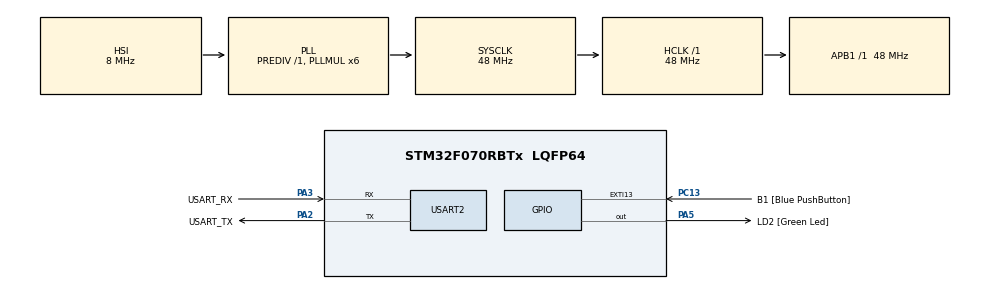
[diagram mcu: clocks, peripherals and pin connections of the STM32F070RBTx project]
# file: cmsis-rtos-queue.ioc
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FREERTOS.Queues01=myQueue,5,uint16_t,0,Dynamic,NULL,NULL
FREERTOS.Tasks01=SenderTask,0,128,Sender,Default,NULL,Dynamic,NULL,NULL;ReceiverTask,0,128,Receiver,Default,NULL,Dynamic,NULL,NULL
Mcu.Family=STM32F0
Mcu.Name=STM32F070RBTx
Mcu.Package=LQFP64
NVIC.TIM1_BRK_UP_TRG_COM_IRQn=true\:3\:0\:false\:false\:true\:false\:false\:true\:true
NVIC.TimeBase=TIM1_BRK_UP_TRG_COM_IRQn
NVIC.TimeBaseIP=TIM1
PA13.GPIO_Label=TMS
PA13.Mode=Serial_Wire
PA13.Signal=SYS_SWDIO
PA14.GPIO_Label=TCK
PA14.Mode=Serial_Wire
PA14.Signal=SYS_SWCLK
PA2.GPIO_Label=USART_TX
PA2.Mode=Asynchronous
PA2.Signal=USART2_TX
PA3.GPIO_Label=USART_RX
PA3.Mode=Asynchronous
PA3.Signal=USART2_RX
PA5.GPIO_Label=LD2 [Green Led]
PA5.Signal=GPIO_Output
PC13.GPIO_Label=B1 [Blue PushButton]
PC13.GPIO_ModeDefaultEXTI=GPIO_MODE_IT_FALLING
PC13.Signal=GPXTI13
PC14-OSC32_IN.GPIO_Label=RCC_OSC32_IN
PC14-OSC32_IN.Mode=LSE-External-Oscillator
PC14-OSC32_IN.Signal=RCC_OSC32_IN
PC15-OSC32_OUT.GPIO_Label=RCC_OSC32_OUT
PC15-OSC32_OUT.Mode=LSE-External-Oscillator
PC15-OSC32_OUT.Signal=RCC_OSC32_OUT
PF0-OSC_IN.GPIO_Label=RCC_OSC_IN
PF0-OSC_IN.Mode=HSE-External-Clock-Source
PF0-OSC_IN.Signal=RCC_OSC_IN
PF1-OSC_OUT.GPIO_Label=RCC_OSC_OUT
PF1-OSC_OUT.Signal=RCC_OSC_OUT
ProjectManager.HeapSize=0x200
ProjectManager.StackSize=0x400
ProjectManager.TargetToolchain=STM32CubeIDE
RCC.AHBFreq_Value=48000000
RCC.APB1Freq_Value=48000000
RCC.APB1TimFreq_Value=48000000
RCC.HCLKFreq_Value=48000000
RCC.PLLMUL=RCC_PLL_MUL6
RCC.SYSCLKFreq_VALUE=48000000
RCC.SYSCLKSource=RCC_SYSCLKSOURCE_PLLCLK
USART2.VirtualMode-Asynchronous=VM_ASYNC
VP_FREERTOS_VS_CMSIS_V1.Mode=CMSIS_V1
VP_SYS_VS_tim1.Mode=TIM1
board=NUCLEO-F070RB

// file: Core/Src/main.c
/* USER CODE BEGIN Header */
/**
  ******************************************************************************
  * @file           : main.c
  * @brief          : Main program body
  ******************************************************************************
  * @attention
  *
  * Copyright (c) 2022 STMicroelectronics.
  * All rights reserved.
  *
  * This software is licensed under terms that can be found in the LICENSE file
  * in the root directory of this software component.
  * If no LICENSE file comes with this software, it is provided AS-IS.
  *
  ******************************************************************************
  */
/* USER CODE END Header */
#include "main.h"
#include "cmsis_os.h"

/* USER CODE BEGIN Includes */
#include "stdio.h"
#include "stdint.h"
#include "string.h"
/* USER CODE END Includes */

/* USER CODE BEGIN PD */
#define uartPrint(__message)                    HAL_UART_Transmit(&huart2,(uint8_t *)__message,strlen(__message),1000)
/* USER CODE END PD */

 UART_HandleTypeDef huart2;

osThreadId SenderTaskHandle;
osThreadId ReceiverTaskHandle;
osMessageQId myQueueHandle;

void SystemClock_Config(void);
static void MX_GPIO_Init(void);
static void MX_USART2_UART_Init(void);
void Sender(void const * argument);
void Receiver(void const * argument);

int main(void)
{

  /* MCU Configuration--------------------------------------------------------*/

  /* Reset of all peripherals, Initializes the Flash interface and the Systick. */
  HAL_Init();

  /* Configure the system clock */
  SystemClock_Config();

  /* Initialize all configured peripherals */
  MX_GPIO_Init();
  MX_USART2_UART_Init();

  /* Create the queue(s) */
  /* definition and creation of myQueue */
  osMessageQDef(myQueue, 5, uint16_t);
  myQueueHandle = osMessageCreate(osMessageQ(myQueue), NULL);

  /* Create the thread(s) */
  /* definition and creation of SenderTask */
  osThreadDef(SenderTask, Sender, osPriorityNormal, 0, 128);
  SenderTaskHandle = osThreadCreate(osThread(SenderTask), NULL);

  /* definition and creation of ReceiverTask */
  osThreadDef(ReceiverTask, Receiver, osPriorityNormal, 0, 128);
  ReceiverTaskHandle = osThreadCreate(osThread(ReceiverTask), NULL);

  /* Start scheduler */
  osKernelStart();

  /* We should never get here as control is now taken by the scheduler */
  /* Infinite loop */
  while (1)
  {

  }
}

void SystemClock_Config(void)
{
  RCC_OscInitTypeDef RCC_OscInitStruct = {0};
  RCC_ClkInitTypeDef RCC_ClkInitStruct = {0};

  /** Initializes the RCC Oscillators according to the specified parameters
  * in the RCC_OscInitTypeDef structure.
  */
  RCC_OscInitStruct.OscillatorType = RCC_OSCILLATORTYPE_HSI;
  RCC_OscInitStruct.HSIState = RCC_HSI_ON;
  RCC_OscInitStruct.HSICalibrationValue = RCC_HSICALIBRATION_DEFAULT;
  RCC_OscInitStruct.PLL.PLLState = RCC_PLL_ON;
  RCC_OscInitStruct.PLL.PLLSource = RCC_PLLSOURCE_HSI;
  RCC_OscInitStruct.PLL.PLLMUL = RCC_PLL_MUL6;
  RCC_OscInitStruct.PLL.PREDIV = RCC_PREDIV_DIV1;
  if (HAL_RCC_OscConfig(&RCC_OscInitStruct) != HAL_OK)
  {
    Error_Handler();
  }

  /** Initializes the CPU, AHB and APB buses clocks
  */
  RCC_ClkInitStruct.ClockType = RCC_CLOCKTYPE_HCLK|RCC_CLOCKTYPE_SYSCLK
                              |RCC_CLOCKTYPE_PCLK1;
  RCC_ClkInitStruct.SYSCLKSource = RCC_SYSCLKSOURCE_PLLCLK;
  RCC_ClkInitStruct.AHBCLKDivider = RCC_SYSCLK_DIV1;
  RCC_ClkInitStruct.APB1CLKDivider = RCC_HCLK_DIV1;

  if (HAL_RCC_ClockConfig(&RCC_ClkInitStruct, FLASH_LATENCY_1) != HAL_OK)
  {
    Error_Handler();
  }
}

static void MX_USART2_UART_Init(void)
{

  huart2.Instance = USART2;
  huart2.Init.BaudRate = 38400;
  huart2.Init.WordLength = UART_WORDLENGTH_8B;
  huart2.Init.StopBits = UART_STOPBITS_1;
  huart2.Init.Parity = UART_PARITY_NONE;
  huart2.Init.Mode = UART_MODE_TX_RX;
  huart2.Init.HwFlowCtl = UART_HWCONTROL_NONE;
  huart2.Init.OverSampling = UART_OVERSAMPLING_16;
  huart2.Init.OneBitSampling = UART_ONE_BIT_SAMPLE_DISABLE;
  huart2.AdvancedInit.AdvFeatureInit = UART_ADVFEATURE_NO_INIT;
  if (HAL_UART_Init(&huart2) != HAL_OK)
  {
    Error_Handler();
  }

}

static void MX_GPIO_Init(void)
{
  GPIO_InitTypeDef GPIO_InitStruct = {0};

  /* GPIO Ports Clock Enable */
  __HAL_RCC_GPIOC_CLK_ENABLE();
  __HAL_RCC_GPIOF_CLK_ENABLE();
  __HAL_RCC_GPIOA_CLK_ENABLE();

  /*Configure GPIO pin Output Level */
  HAL_GPIO_WritePin(LD2_GPIO_Port, LD2_Pin, GPIO_PIN_RESET);

  /*Configure GPIO pin : B1_Pin */
  GPIO_InitStruct.Pin = B1_Pin;
  GPIO_InitStruct.Mode = GPIO_MODE_IT_FALLING;
  GPIO_InitStruct.Pull = GPIO_NOPULL;
  HAL_GPIO_Init(B1_GPIO_Port, &GPIO_InitStruct);

  /*Configure GPIO pin : LD2_Pin */
  GPIO_InitStruct.Pin = LD2_Pin;
  GPIO_InitStruct.Mode = GPIO_MODE_OUTPUT_PP;
  GPIO_InitStruct.Pull = GPIO_NOPULL;
  GPIO_InitStruct.Speed = GPIO_SPEED_FREQ_LOW;
  HAL_GPIO_Init(LD2_GPIO_Port, &GPIO_InitStruct);

}

void Sender(void const * argument)
{
  /* USER CODE BEGIN 5 */
	//osDelay(2000);
	uint32_t sendVal;
	for(uint32_t i = 1; i<=10; ++i){
		sendVal = i*10;
		osMessagePut(myQueueHandle, sendVal, 100);
	}
  /* Infinite loop */
  for(;;)
  {

  }
  /* USER CODE END 5 */
}

void Receiver(void const * argument)
{
  /* USER CODE BEGIN Receiver */
  /* Infinite loop */
	osEvent message;
	char string[50];
  for(;;)
  {
	  message = osMessageGet(myQueueHandle, 5000);
	  if(message.status == osEventMessage){
		  sprintf(string, "Recieved value: %u\r\n", message.value.v);

		  uartPrint(string);
	  }
	  else{
		  uartPrint("Queue is empty!\r\n");
	  }
  }
  /* USER CODE END Receiver */
}

void HAL_TIM_PeriodElapsedCallback(TIM_HandleTypeDef *htim)
{
  if (htim->Instance == TIM1) {
    HAL_IncTick();
  }
}

void Error_Handler(void)
{
  __disable_irq();
  while (1)
  {
  }
}
